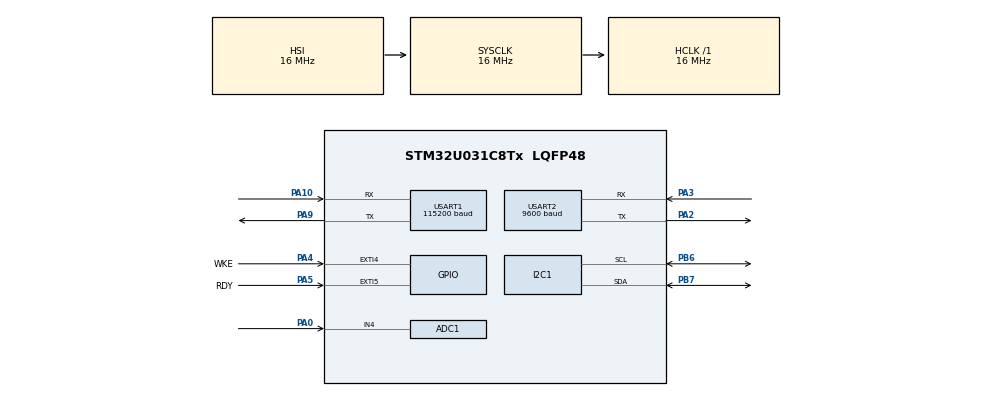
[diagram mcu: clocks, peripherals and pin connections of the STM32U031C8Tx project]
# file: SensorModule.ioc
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ADC1.Channel-1\#ChannelRegularConversion=ADC_CHANNEL_VREFINT
ADC1.Channel-2\#ChannelRegularConversion=ADC_CHANNEL_4
ADC1.NbrOfConversion=2
ADC1.NbrOfConversionFlag=1
ADC1.Rank-1\#ChannelRegularConversion=1
ADC1.Rank-2\#ChannelRegularConversion=2
ADC1.RankArg-1\#ChannelRegularConversion=ADC_REGULAR_RANK_1
ADC1.RankArg-2\#ChannelRegularConversion=ADC_REGULAR_RANK_2
ADC1.SamplingTime-1\#ChannelRegularConversion=ADC_SAMPLINGTIME_COMMON_1
ADC1.SamplingTime-2\#ChannelRegularConversion=ADC_SAMPLINGTIME_COMMON_1
ADC1.SamplingTimeCommon1=ADC_SAMPLETIME_160CYCLES_5
ADC1.SelectedChannel=ADC_CHANNEL_4|ADC_CHANNEL_VREFINT
ADC1.master=1
I2C1.Timing=0x00303D5B
Mcu.Family=STM32U0
Mcu.Name=STM32U031C8Tx
Mcu.Package=LQFP48
NVIC.EXTI4_15_IRQn=true\:0\:0\:false\:false\:true\:true\:true\:true
NVIC.PriorityGroup=NVIC_PRIORITYGROUP_2
PA0.Mode=IN4
PA0.Signal=ADC1_IN4
PA10.Mode=Asynchronous
PA10.Signal=USART1_RX
PA13\ (SWDIO).Mode=Trace_Asynchronous_SW
PA13\ (SWDIO).Signal=DEBUG_JTMS-SWDIO
PA14\ (SWCLK).Mode=Trace_Asynchronous_SW
PA14\ (SWCLK).Signal=DEBUG_JTCK-SWCLK
PA2.Mode=Asynchronous
PA2.Signal=USART2_TX
PA3.Mode=Asynchronous
PA3.Signal=USART2_RX
PA4.GPIO_Label=WKE
PA4.GPIO_PuPd=GPIO_PULLDOWN
PA4.Signal=GPXTI4
PA5.GPIO_Label=RDY
PA5.GPIO_PuPd=GPIO_PULLDOWN
PA5.Signal=GPXTI5
PA9.Mode=Asynchronous
PA9.Signal=USART1_TX
PB3.Mode=Trace_Asynchronous_SW
PB3.Signal=DEBUG_JTDO-SWO
PB6.Mode=I2C
PB6.Signal=I2C1_SCL
PB7.Mode=I2C
PB7.Signal=I2C1_SDA
ProjectManager.HeapSize=0x200
ProjectManager.StackSize=0x400
ProjectManager.TargetToolchain=STM32CubeIDE
RCC.ADCFreq_Value=16000000
RCC.AHBFreq_Value=16000000
RCC.CortexFreq_Value=16000000
RCC.HCLKFreq_Value=16000000
RCC.HSE_VALUE=4000000
RCC.HSI48_VALUE=48000000
RCC.HSI_VALUE=16000000
RCC.LSE_VALUE=32768
RCC.MSI_VALUE=4000000
RCC.SYSCLKFreq_VALUE=16000000
RCC.VCOOutputFreq_Value=64000000
RTC.Alarm-Alarm\ A=RTC_ALARM_A
USART1.BaudRate=115200
USART1.VirtualMode-Asynchronous=VM_ASYNC
USART2.BaudRate=9600
USART2.VirtualMode-Asynchronous=VM_ASYNC
VP_ADC1_Vref_Input.Mode=IN-Vrefint
VP_PWR_VS_SECSignals.Mode=Security/Privilege
VP_RTC_VS_RTC_Activate.Mode=RTC_Enabled
VP_RTC_VS_RTC_Alarm_A_Intern.Mode=Alarm A
VP_RTC_VS_RTC_Calendar.Mode=RTC_Calendar
VP_RTC_VS_RTC_WakeUp_intern.Mode=WakeUp
board=custom

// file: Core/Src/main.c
/* USER CODE BEGIN Header */
/**
  ******************************************************************************
  * @file           : main.c
  * @brief          : Main program body
  ******************************************************************************
  * @attention
  *
  * Copyright (c) 2025 STMicroelectronics.
  * All rights reserved.
  *
  * This software is licensed under terms that can be found in the LICENSE file
  * in the root directory of this software component.
  * If no LICENSE file comes with this software, it is provided AS-IS.
  *
  ******************************************************************************
  */
/* USER CODE END Header */
#include "main.h"

/* USER CODE BEGIN Includes */
#include "stdio.h"

// STC31
#include "stc31/sensirion_common.h"
#include "stc31/sensirion_i2c_hal.h"
#include "stc31/stc3x_i2c.h"
#include <inttypes.h>

#include "stc31/sht4x.h"

#include "stc31/ms5.h"
/* USER CODE END Includes */

/* USER CODE BEGIN PD */

#define STC31 0x29 << 1

/* USER CODE END PD */

ADC_HandleTypeDef hadc1;

I2C_HandleTypeDef hi2c1;

RTC_HandleTypeDef hrtc;

UART_HandleTypeDef huart1;
UART_HandleTypeDef huart2;

void SystemClock_Config(void);
static void MX_GPIO_Init(void);
static void MX_I2C1_Init(void);
static void MX_RTC_Init(void);
static void MX_USART1_UART_Init(void);
static void MX_USART2_UART_Init(void);
static void MX_ADC1_Init(void);
/* USER CODE BEGIN PFP */
#define PUTCHAR_PROTOTYPE int __io_putchar(int ch)
/* USER CODE END PFP */

/* USER CODE BEGIN 0 */

uint8_t rx_buf[12] = {0};
bool data_ready = false;

enum State {
	MEASURE,
	REPORT,
	SLEEP,
	INIT
};

enum State state = INIT;

void HAL_GPIO_EXTI_Rising_Callback(uint16_t GPIO_Pin) {
	if (GPIO_Pin == WKE_Pin) {
		if (state == SLEEP)
			state = MEASURE;
	} else if (GPIO_Pin == RDY_Pin && data_ready) {
		if (state == MEASURE)
			state = REPORT;
	} else {
	  __NOP();
	}
}

void get_battery(uint32_t* bat) {
	HAL_ADCEx_Calibration_Start(&hadc1);
	HAL_ADC_Start(&hadc1);

	HAL_ADC_PollForConversion(&hadc1, 2000);
	uint32_t vref_raw = HAL_ADC_GetValue(&hadc1);

	HAL_ADC_PollForConversion(&hadc1, 2000);
	uint32_t bat_raw = HAL_ADC_GetValue(&hadc1);

	HAL_ADC_Stop(&hadc1);

	//printf("vref raw:\t%ld\r\n", vref_raw);
	//printf("bat raw:\t%ld\r\n", bat_raw);

	////printf("?: %u\r\n", *VREFINT_CAL_ADDR);
	////printf("t: %u\r\n", *((uint16_t*) (0x1FFF6E68UL)));

	uint32_t vref = __HAL_ADC_CALC_VREFANALOG_VOLTAGE(vref_raw, ADC_RESOLUTION_12B);
	//*bat = (int)(__HAL_ADC_CALC_DATA_TO_VOLTAGE(vref, bat_raw, ADC_RESOLUTION_12B)*3.18f);

	// find out the voltage divider ratio, in this case 3.18. and multiply by 1.367. That gives us the coefficient 4.35f.
	double temp = (double)bat_raw / 4095 * vref * 4.3f - 1450;
	*bat = temp < 0 ? 0 : (uint32_t)temp;

	//printf("vref:\t%ld\r\n", vref);
	//printf("bat:\t%ld\r\n", *bat);
}
/* USER CODE END 0 */

int main(void)
{

  /* MCU Configuration--------------------------------------------------------*/

  /* Reset of all peripherals, Initializes the Flash interface and the Systick. */
  HAL_Init();

  /* Configure the system clock */
  SystemClock_Config();

  /* Initialize all configured peripherals */
  MX_GPIO_Init();
  MX_I2C1_Init();
  MX_RTC_Init();
  MX_USART1_UART_Init();
  MX_USART2_UART_Init();
  MX_ADC1_Init();
  /* USER CODE BEGIN 2 */
  printf("\r\nSTM32 CO2 Sensor Startup!\r\n");

  stc3x_init(0x29);

  if ((HAL_I2C_IsDeviceReady(&hi2c1, STC31, 2, 1000)) != HAL_OK) {
	  printf("STC31 not ready: %lu\r\n", hi2c1.ErrorCode);
	  HAL_Delay(1000);
  } else {
	  printf("Good!\r\n");
  }

  if ((HAL_I2C_IsDeviceReady(&hi2c1, 0x77 << 1, 2, 1000)) != HAL_OK) {
  	  printf("ms5 not ready: %lu\r\n", hi2c1.ErrorCode);
  	  HAL_Delay(1000);
    } else {
  	  //printf("Good!\r\n");
    }

  int16_t error = 0;
//  error = stc3x_prepare_product_identifier();
//  if (error) {
//	  printf("Error executing stc3x_prepare_product_identifier(): %i\r\n", error);
//  }

//  uint32_t product_number;
//  uint64_t serial_number = 0;
//  error = stc3x_get_product_id(&product_number, &serial_number);
//  if (error) {
//	  printf("Error executing stc3x_read_product_identifier(): %i\r\n", error);
//  } else {
//	  printf("Product Number: 0x%08lx\r\n", product_number);
//	  printf("Serial Number: %" PRIu64 "\r\n", serial_number);
//  }

  stc3x_test_result_t self_test_output;
  error = stc3x_self_test(&self_test_output);
  if (error) {
	  printf("Error executing stc3x_self_test(): %i\n", error);
  } else {
	  //printf("Self Test: 0x%04x (OK = 0x0000)\n", self_test_output.value);
  }

  error = stc3x_set_binary_gas(0x0003);
  if (error) {
	  printf("Error executing stc3x_set_binary_gas(): %i\n", error);
  } else {
	  //printf("Set binary gas to 0x0003\n");
  }

  if (sht4x_probe() != STATUS_OK) {
	  printf("SHT sensor probing failed\r\n");
  }
  //printf("SHT sensor probing successful\r\n");

  uint16_t gas_ticks;
  uint16_t temperature_ticks;

  float gas;
  float temperature;

  struct sht_data_t sht_data;

  struct ms5_data_t ms5_data;

  uint32_t bat;

  uint8_t raw_data[8];

  /* USER CODE END 2 */

  /* Infinite loop */
  while (1)
  {

    /* USER CODE BEGIN 3 */

	  data_ready = false;

	  stc3x_enter_sleep_mode();
//	  printf("Processing packet from 0C: 80-1-3-69-9F-68-4C-A3-34-87-5D\r\n");
	  //printf("Going to sleep zzzz\r\n\r\n");
	  state = SLEEP;
	  while (state == SLEEP) {
		HAL_SuspendTick();
		//HAL_RTCEx_SetWakeUpTimer_IT(&hrtc, 0x2805, RTC_WAKEUPCLOCK_RTCCLK_DIV16, 0);
		HAL_PWR_EnterSTOPMode(PWR_LOWPOWERREGULATOR_ON, PWR_STOPENTRY_WFI);
	  }

	  SystemClock_Config();
	  HAL_ResumeTick();

	  //printf("Woke up!\r\n");

	  int8_t ret = sht4x_measure_blocking_read(&sht_data);
	  if (ret == STATUS_OK) {
		  //printf("measured temperature: %ld.%ld degreeCelsius, "measured humidity: %ld.%ld percentRH\n", sht_data.temp/1000, sht_data.temp/10%10, sht_data.rh/1000, sht_data.rh/10%10);
		  sensirion_common_uint16_t_to_bytes(sht_data.temp_raw, raw_data);
		  sensirion_common_uint16_t_to_bytes(sht_data.rh_raw, &raw_data[2]);

		  //printf("Raw temp: %d, rh: %d\r\n", sht_data.temp_raw, sht_data.rh_raw);
	  } else {
		  printf("error reading measurement\n");
	  }

//	  error = ms5_measure_data(&ms5_data);
//	  if (error) {
//		  //printf("Error getting MS5 Pressure: %i\r\n", error);
//	  } else {
//		  //printf("Pressure: %ld\r\n", ms5_data.pressure);
//	  }

	  stc3x_exit_sleep_mode();
	  HAL_Delay(12);
	  error = stc3x_set_binary_gas(0x0003);
	  if (error) {
		  printf("Error executing stc3x_set_binary_gas(): %i\n", error);
	  }
	  HAL_Delay(12);

	  error = stc3x_set_relative_humidity_raw(sht_data.rh_raw);
	  if (error) {
		  printf("Error setting humidity %i\r\n", error);
	  }

	  error = stc3x_set_temperature_raw(sht_data.temp / 5);
	  if (error) {
		  printf("Error setting temp %i\r\n", error);
	  }

	  HAL_Delay(12);

	  error = stc3x_measure_gas_concentration_raw(&gas_ticks, &temperature_ticks);
	  if (error) {
		  printf("Error executing stc3x_measure_gas_concentration_raw(): %i\n", error);
	  } else {
		  gas = 25 * ((float)gas_ticks - 16384.0) / 32768.0;
		  temperature = (float)temperature_ticks / 200.0;
		  sensirion_common_uint16_t_to_bytes(gas_ticks, &raw_data[4]);
		  //printf("raw gas: %d\r\n", gas_ticks);
		  //printf("stc raw temp: %d\r\n", temperature_ticks);
//		  printf("Gas: %d.%d - Temperature: %d.%d\r\n", (int)gas, (int)(gas*100) % 100, (int)temperature, (int)(temperature*100)%100);
	  }

	  get_battery(&bat);
	  sensirion_common_uint16_t_to_bytes((uint16_t)bat, &raw_data[6]);

	  //printf("Data collected, waiting for RQ signal\r\n");
	  data_ready = true;
	  while (state != REPORT) {
		HAL_Delay(25);
	  }

	  const uint8_t packet_size = 8;
	  HAL_UART_Transmit(&huart2, &packet_size, 1, 1000);
	  //printf("Sent packet size\r\n");
	  HAL_Delay(50);

	  //printf("Transmitting Data to CC\r\n");
	  HAL_UART_Transmit(&huart2, (uint8_t*)raw_data, packet_size, 1000);
  }
  /* USER CODE END 3 */
}

void SystemClock_Config(void)
{
  RCC_OscInitTypeDef RCC_OscInitStruct = {0};
  RCC_ClkInitTypeDef RCC_ClkInitStruct = {0};

  /** Configure the main internal regulator output voltage
  */
  HAL_PWREx_ControlVoltageScaling(PWR_REGULATOR_VOLTAGE_SCALE2);

  /** Initializes the RCC Oscillators according to the specified parameters
  * in the RCC_OscInitTypeDef structure.
  */
  RCC_OscInitStruct.OscillatorType = RCC_OSCILLATORTYPE_HSI|RCC_OSCILLATORTYPE_LSI;
  RCC_OscInitStruct.HSIState = RCC_HSI_ON;
  RCC_OscInitStruct.HSICalibrationValue = RCC_HSICALIBRATION_DEFAULT;
  RCC_OscInitStruct.LSIState = RCC_LSI_ON;
  RCC_OscInitStruct.PLL.PLLState = RCC_PLL_NONE;
  if (HAL_RCC_OscConfig(&RCC_OscInitStruct) != HAL_OK)
  {
    Error_Handler();
  }

  /** Initializes the CPU, AHB and APB buses clocks
  */
  RCC_ClkInitStruct.ClockType = RCC_CLOCKTYPE_HCLK|RCC_CLOCKTYPE_SYSCLK
                              |RCC_CLOCKTYPE_PCLK1;
  RCC_ClkInitStruct.SYSCLKSource = RCC_SYSCLKSOURCE_HSI;
  RCC_ClkInitStruct.AHBCLKDivider = RCC_SYSCLK_DIV1;
  RCC_ClkInitStruct.APB1CLKDivider = RCC_HCLK_DIV1;

  if (HAL_RCC_ClockConfig(&RCC_ClkInitStruct, FLASH_LATENCY_1) != HAL_OK)
  {
    Error_Handler();
  }
}

static void MX_ADC1_Init(void)
{

  ADC_ChannelConfTypeDef sConfig = {0};

  /** Configure the global features of the ADC (Clock, Resolution, Data Alignment and number of conversion)
  */
  hadc1.Instance = ADC1;
  hadc1.Init.ClockPrescaler = ADC_CLOCK_SYNC_PCLK_DIV1;
  hadc1.Init.Resolution = ADC_RESOLUTION_12B;
  hadc1.Init.DataAlign = ADC_DATAALIGN_RIGHT;
  hadc1.Init.ScanConvMode = ADC_SCAN_ENABLE;
  hadc1.Init.EOCSelection = ADC_EOC_SINGLE_CONV;
  hadc1.Init.LowPowerAutoWait = DISABLE;
  hadc1.Init.LowPowerAutoPowerOff = DISABLE;
  hadc1.Init.ContinuousConvMode = DISABLE;
  hadc1.Init.NbrOfConversion = 2;
  hadc1.Init.DiscontinuousConvMode = DISABLE;
  hadc1.Init.ExternalTrigConv = ADC_SOFTWARE_START;
  hadc1.Init.ExternalTrigConvEdge = ADC_EXTERNALTRIGCONVEDGE_NONE;
  hadc1.Init.DMAContinuousRequests = DISABLE;
  hadc1.Init.Overrun = ADC_OVR_DATA_PRESERVED;
  hadc1.Init.SamplingTimeCommon1 = ADC_SAMPLETIME_160CYCLES_5;
  hadc1.Init.SamplingTimeCommon2 = ADC_SAMPLETIME_1CYCLE_5;
  hadc1.Init.OversamplingMode = DISABLE;
  hadc1.Init.TriggerFrequencyMode = ADC_TRIGGER_FREQ_HIGH;
  if (HAL_ADC_Init(&hadc1) != HAL_OK)
  {
    Error_Handler();
  }

  /** Configure Regular Channel
  */
  sConfig.Channel = ADC_CHANNEL_VREFINT;
  sConfig.Rank = ADC_REGULAR_RANK_1;
  sConfig.SamplingTime = ADC_SAMPLINGTIME_COMMON_1;
  if (HAL_ADC_ConfigChannel(&hadc1, &sConfig) != HAL_OK)
  {
    Error_Handler();
  }

  /** Configure Regular Channel
  */
  sConfig.Channel = ADC_CHANNEL_4;
  sConfig.Rank = ADC_REGULAR_RANK_2;
  if (HAL_ADC_ConfigChannel(&hadc1, &sConfig) != HAL_OK)
  {
    Error_Handler();
  }

}

static void MX_I2C1_Init(void)
{

  hi2c1.Instance = I2C1;
  hi2c1.Init.Timing = 0x00303D5B;
  hi2c1.Init.OwnAddress1 = 0;
  hi2c1.Init.AddressingMode = I2C_ADDRESSINGMODE_7BIT;
  hi2c1.Init.DualAddressMode = I2C_DUALADDRESS_DISABLE;
  hi2c1.Init.OwnAddress2 = 0;
  hi2c1.Init.OwnAddress2Masks = I2C_OA2_NOMASK;
  hi2c1.Init.GeneralCallMode = I2C_GENERALCALL_DISABLE;
  hi2c1.Init.NoStretchMode = I2C_NOSTRETCH_DISABLE;
  if (HAL_I2C_Init(&hi2c1) != HAL_OK)
  {
    Error_Handler();
  }

  /** Configure Analogue filter
  */
  if (HAL_I2CEx_ConfigAnalogFilter(&hi2c1, I2C_ANALOGFILTER_ENABLE) != HAL_OK)
  {
    Error_Handler();
  }

  /** Configure Digital filter
  */
  if (HAL_I2CEx_ConfigDigitalFilter(&hi2c1, 0) != HAL_OK)
  {
    Error_Handler();
  }

}

static void MX_RTC_Init(void)
{

  RTC_TimeTypeDef sTime = {0};
  RTC_DateTypeDef sDate = {0};
  RTC_AlarmTypeDef sAlarm = {0};

  /** Initialize RTC Only
  */
  hrtc.Instance = RTC;
  hrtc.Init.HourFormat = RTC_HOURFORMAT_24;
  hrtc.Init.AsynchPrediv = 127;
  hrtc.Init.SynchPrediv = 255;
  hrtc.Init.OutPut = RTC_OUTPUT_DISABLE;
  hrtc.Init.OutPutRemap = RTC_OUTPUT_REMAP_NONE;
  hrtc.Init.OutPutPolarity = RTC_OUTPUT_POLARITY_HIGH;
  hrtc.Init.OutPutType = RTC_OUTPUT_TYPE_OPENDRAIN;
  hrtc.Init.OutPutPullUp = RTC_OUTPUT_PULLUP_NONE;
  hrtc.Init.BinMode = RTC_BINARY_NONE;
  if (HAL_RTC_Init(&hrtc) != HAL_OK)
  {
    Error_Handler();
  }

  /** Initialize RTC and set the Time and Date
  */
  sTime.Hours = 0x0;
  sTime.Minutes = 0x0;
  sTime.Seconds = 0x0;
  sTime.DayLightSaving = RTC_DAYLIGHTSAVING_NONE;
  sTime.StoreOperation = RTC_STOREOPERATION_RESET;
  if (HAL_RTC_SetTime(&hrtc, &sTime, RTC_FORMAT_BCD) != HAL_OK)
  {
    Error_Handler();
  }
  sDate.WeekDay = RTC_WEEKDAY_MONDAY;
  sDate.Month = RTC_MONTH_JANUARY;
  sDate.Date = 0x1;
  sDate.Year = 0x0;

  if (HAL_RTC_SetDate(&hrtc, &sDate, RTC_FORMAT_BCD) != HAL_OK)
  {
    Error_Handler();
  }

  /** Enable the Alarm A
  */
  sAlarm.AlarmTime.Hours = 0x0;
  sAlarm.AlarmTime.Minutes = 0x0;
  sAlarm.AlarmTime.Seconds = 0x0;
  sAlarm.AlarmTime.SubSeconds = 0x0;
  sAlarm.AlarmMask = RTC_ALARMMASK_NONE;
  sAlarm.AlarmSubSecondMask = RTC_ALARMSUBSECONDMASK_ALL;
  sAlarm.AlarmDateWeekDaySel = RTC_ALARMDATEWEEKDAYSEL_DATE;
  sAlarm.AlarmDateWeekDay = 0x1;
  sAlarm.Alarm = RTC_ALARM_A;
  if (HAL_RTC_SetAlarm(&hrtc, &sAlarm, RTC_FORMAT_BCD) != HAL_OK)
  {
    Error_Handler();
  }

  /** Enable the WakeUp
  */
  if (HAL_RTCEx_SetWakeUpTimer(&hrtc, 0, RTC_WAKEUPCLOCK_RTCCLK_DIV16) != HAL_OK)
  {
    Error_Handler();
  }

}

static void MX_USART1_UART_Init(void)
{

  huart1.Instance = USART1;
  huart1.Init.BaudRate = 115200;
  huart1.Init.WordLength = UART_WORDLENGTH_8B;
  huart1.Init.StopBits = UART_STOPBITS_1;
  huart1.Init.Parity = UART_PARITY_NONE;
  huart1.Init.Mode = UART_MODE_TX_RX;
  huart1.Init.HwFlowCtl = UART_HWCONTROL_NONE;
  huart1.Init.OverSampling = UART_OVERSAMPLING_16;
  huart1.Init.OneBitSampling = UART_ONE_BIT_SAMPLE_DISABLE;
  huart1.Init.ClockPrescaler = UART_PRESCALER_DIV1;
  huart1.AdvancedInit.AdvFeatureInit = UART_ADVFEATURE_NO_INIT;
  if (HAL_UART_Init(&huart1) != HAL_OK)
  {
    Error_Handler();
  }
  if (HAL_UARTEx_SetTxFifoThreshold(&huart1, UART_TXFIFO_THRESHOLD_1_8) != HAL_OK)
  {
    Error_Handler();
  }
  if (HAL_UARTEx_SetRxFifoThreshold(&huart1, UART_RXFIFO_THRESHOLD_1_8) != HAL_OK)
  {
    Error_Handler();
  }
  if (HAL_UARTEx_DisableFifoMode(&huart1) != HAL_OK)
  {
    Error_Handler();
  }

}

static void MX_USART2_UART_Init(void)
{

  huart2.Instance = USART2;
  huart2.Init.BaudRate = 9600;
  huart2.Init.WordLength = UART_WORDLENGTH_8B;
  huart2.Init.StopBits = UART_STOPBITS_1;
  huart2.Init.Parity = UART_PARITY_NONE;
  huart2.Init.Mode = UART_MODE_TX_RX;
  huart2.Init.HwFlowCtl = UART_HWCONTROL_NONE;
  huart2.Init.OverSampling = UART_OVERSAMPLING_16;
  huart2.Init.OneBitSampling = UART_ONE_BIT_SAMPLE_DISABLE;
  huart2.Init.ClockPrescaler = UART_PRESCALER_DIV1;
  huart2.AdvancedInit.AdvFeatureInit = UART_ADVFEATURE_NO_INIT;
  if (HAL_UART_Init(&huart2) != HAL_OK)
  {
    Error_Handler();
  }
  if (HAL_UARTEx_SetTxFifoThreshold(&huart2, UART_TXFIFO_THRESHOLD_1_8) != HAL_OK)
  {
    Error_Handler();
  }
  if (HAL_UARTEx_SetRxFifoThreshold(&huart2, UART_RXFIFO_THRESHOLD_1_8) != HAL_OK)
  {
    Error_Handler();
  }
  if (HAL_UARTEx_DisableFifoMode(&huart2) != HAL_OK)
  {
    Error_Handler();
  }

}

static void MX_GPIO_Init(void)
{
  GPIO_InitTypeDef GPIO_InitStruct = {0};

  /* GPIO Ports Clock Enable */
  __HAL_RCC_GPIOA_CLK_ENABLE();
  __HAL_RCC_GPIOB_CLK_ENABLE();

  /*Configure GPIO pins : WKE_Pin RDY_Pin */
  GPIO_InitStruct.Pin = WKE_Pin|RDY_Pin;
  GPIO_InitStruct.Mode = GPIO_MODE_IT_RISING;
  GPIO_InitStruct.Pull = GPIO_PULLDOWN;
  HAL_GPIO_Init(GPIOA, &GPIO_InitStruct);

  /* EXTI interrupt init*/
  HAL_NVIC_SetPriority(EXTI4_15_IRQn, 0, 0);
  HAL_NVIC_EnableIRQ(EXTI4_15_IRQn);

}

/* USER CODE BEGIN 4 */
/**
  * @brief  Retargets the C library printf function to the USART.
  *   None
  * @retval None
  */
PUTCHAR_PROTOTYPE
{
  /* Place your implementation of fputc here */
  /* e.g. write a character to the USART1 and Loop until the end of transmission */
  HAL_UART_Transmit(&huart1, (uint8_t *)&ch, 1, 0xFFFF);

  return ch;
}
/* USER CODE END 4 */

void Error_Handler(void)
{
  __disable_irq();
  while (1)
  {
  }
}
